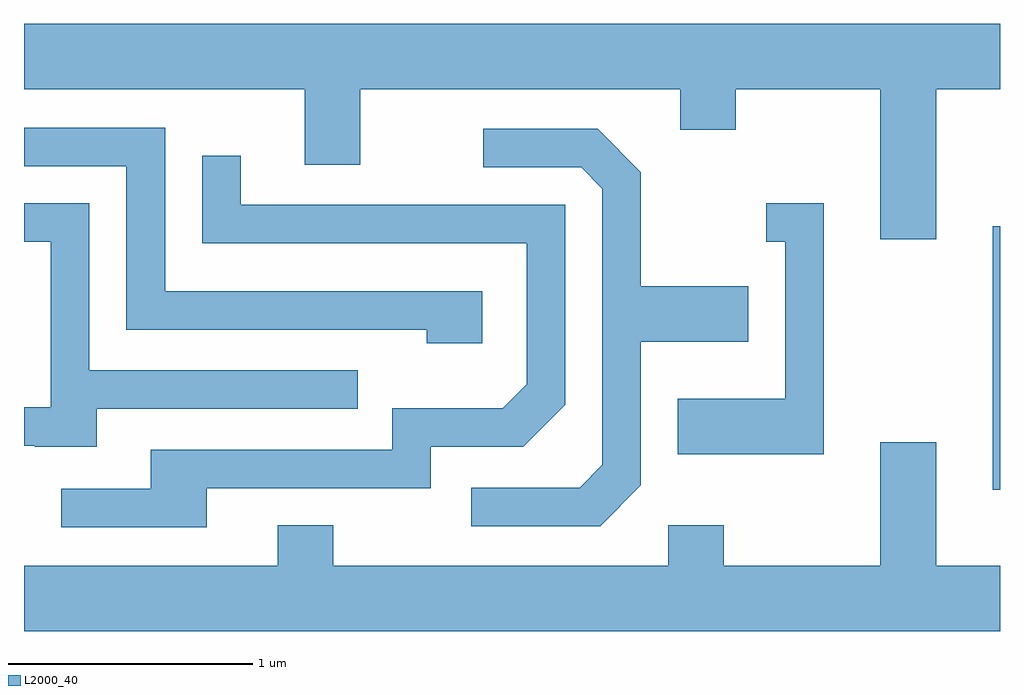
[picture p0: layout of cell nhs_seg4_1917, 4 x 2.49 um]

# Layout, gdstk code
import gdstk
lib = gdstk.Library(unit=1e-6, precision=1e-09)
def R(c, l, rs):  # rectangles x0, y0, x1, y1
    for r in rs: c.add(gdstk.rectangle(r[:2], r[2:], *l))
def P(c, l, *ps):  # polygons
    for p in ps: c.add(gdstk.Polygon(p, *l))
L2000_40 = (2000, 40)

nhs_seg4_1917 = lib.new_cell('nhs_seg4_1917')
R(nhs_seg4_1917, L2000_40, [(245.581,1281.996,245.611,1283.074)])
P(nhs_seg4_1917, L2000_40, [(245.349,1283.636),(245.611,1283.636),(245.611,1283.904),(241.611,1283.904),(241.611,1283.636),(242.761,1283.636),(242.761,1283.326),(242.989,1283.326),(242.989,1283.636),(244.301,1283.636),(244.301,1283.471),(244.529,1283.471),(244.529,1283.636),(245.121,1283.636),(245.121,1283.021),(245.349,1283.021)],
  [(243.489,1282.809),(242.189,1282.809),(242.189,1283.479),(241.611,1283.479),(241.611,1283.321),(242.031,1283.321),(242.031,1282.651),(243.261,1282.651),(243.261,1282.596),(243.489,1282.596)],
  [(244.139,1282.014),(244.139,1282.601),(244.579,1282.601),(244.579,1282.829),(244.139,1282.829),(244.139,1283.297),(243.962,1283.474),(243.493,1283.474),(243.493,1283.316),(243.894,1283.316),(243.981,1283.229),(243.981,1282.097),(243.889,1282.004),(243.443,1282.004),(243.443,1281.846),(243.972,1281.846)],
  [(242.359,1282.001),(243.279,1282.001),(243.279,1282.171),(243.657,1282.171),(243.829,1282.344),(243.829,1283.164),(242.499,1283.164),(242.499,1283.363),(242.341,1283.363),(242.341,1283.006),(243.671,1283.006),(243.671,1282.427),(243.574,1282.329),(243.121,1282.329),(243.121,1282.159),(242.131,1282.159),(242.131,1281.999),(241.763,1281.999),(241.763,1281.841),(242.359,1281.841)],
  [(244.889,1283.169),(244.653,1283.169),(244.653,1283.011),(244.731,1283.011),(244.731,1282.369),(244.291,1282.369),(244.291,1282.141),(244.889,1282.141)],
  [(241.909,1282.326),(242.978,1282.326),(242.978,1282.484),(241.879,1282.484),(241.879,1283.169),(241.611,1283.169),(241.611,1283.011),(241.721,1283.011),(241.721,1282.334),(241.611,1282.334),(241.611,1282.176),(241.655,1282.176),(241.655,1282.171),(241.909,1282.171)],
  [(245.611,1281.684),(245.349,1281.684),(245.349,1282.189),(245.121,1282.189),(245.121,1281.684),(244.479,1281.684),(244.479,1281.849),(244.251,1281.849),(244.251,1281.684),(242.879,1281.684),(242.879,1281.849),(242.651,1281.849),(242.651,1281.684),(241.611,1281.684),(241.611,1281.416),(245.611,1281.416)])

lib.write_gds('nhs_seg4_1917.gds')
